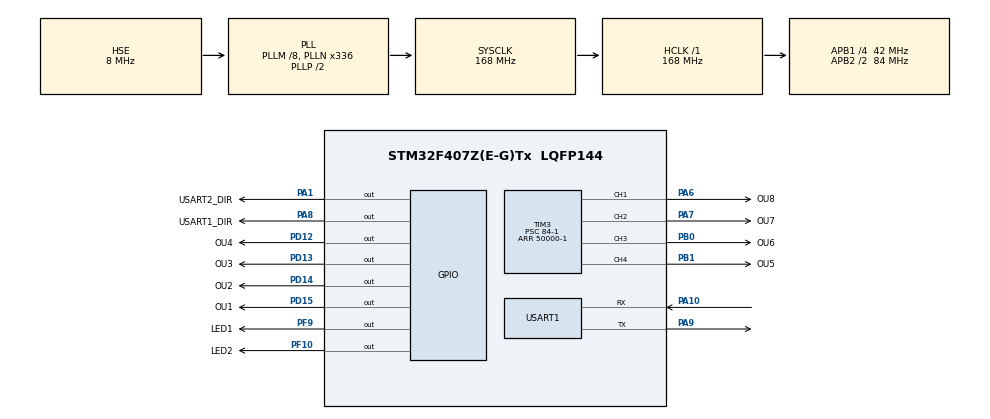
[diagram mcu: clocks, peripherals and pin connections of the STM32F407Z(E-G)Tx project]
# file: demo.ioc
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FREERTOS.Tasks01=defaultTask,24,128,StartDefaultTask,Default,NULL,Dynamic,NULL,NULL
FREERTOS.configTOTAL_HEAP_SIZE=102400
IWDG.Prescaler=IWDG_PRESCALER_32
IWDG.Reload=1500
Mcu.Family=STM32F4
Mcu.Name=STM32F407Z(E-G)Tx
Mcu.Package=LQFP144
NVIC.PriorityGroup=NVIC_PRIORITYGROUP_4
NVIC.TIM3_IRQn=true\:5\:0\:false\:false\:true\:true\:true\:true\:true
NVIC.TIM4_IRQn=true\:5\:0\:false\:false\:true\:true\:true\:true\:true
NVIC.TIM5_IRQn=true\:15\:0\:false\:false\:true\:false\:false\:true\:true
NVIC.TimeBase=TIM5_IRQn
NVIC.TimeBaseIP=TIM5
NVIC.USART1_IRQn=true\:5\:0\:false\:false\:true\:true\:true\:true\:true
PA1.GPIO_Label=USART2_DIR
PA1.Signal=GPIO_Output
PA10.Mode=Asynchronous
PA10.Signal=USART1_RX
PA13.Mode=Serial_Wire
PA13.Signal=SYS_JTMS-SWDIO
PA14.Mode=Serial_Wire
PA14.Signal=SYS_JTCK-SWCLK
PA6.GPIO_Label=OU8
PA6.Signal=S_TIM3_CH1
PA7.GPIO_Label=OU7
PA7.Signal=S_TIM3_CH2
PA8.GPIO_Label=USART1_DIR
PA8.Signal=GPIO_Output
PA9.Mode=Asynchronous
PA9.Signal=USART1_TX
PB0.GPIO_Label=OU6
PB0.Signal=S_TIM3_CH3
PB1.GPIO_Label=OU5
PB1.Signal=S_TIM3_CH4
PD12.GPIO_Label=OU4
PD12.Signal=GPIO_Output
PD13.GPIO_Label=OU3
PD13.Signal=GPIO_Output
PD14.GPIO_Label=OU2
PD14.Signal=GPIO_Output
PD15.GPIO_Label=OU1
PD15.Signal=GPIO_Output
PF10.GPIO_Label=LED2
PF10.PinState=GPIO_PIN_SET
PF10.Signal=GPIO_Output
PF9.GPIO_Label=LED1
PF9.PinState=GPIO_PIN_SET
PF9.Signal=GPIO_Output
PH0-OSC_IN.Mode=HSE-External-Oscillator
PH0-OSC_IN.Signal=RCC_OSC_IN
PH1-OSC_OUT.Mode=HSE-External-Oscillator
PH1-OSC_OUT.Signal=RCC_OSC_OUT
ProjectManager.HeapSize=0x200
ProjectManager.StackSize=0x400
ProjectManager.TargetToolchain=Makefile
RCC.48MHZClocksFreq_Value=84000000
RCC.AHBFreq_Value=168000000
RCC.APB1CLKDivider=RCC_HCLK_DIV4
RCC.APB1Freq_Value=42000000
RCC.APB1TimFreq_Value=84000000
RCC.APB2CLKDivider=RCC_HCLK_DIV2
RCC.APB2Freq_Value=84000000
RCC.APB2TimFreq_Value=168000000
RCC.CortexFreq_Value=168000000
RCC.HCLKFreq_Value=168000000
RCC.HSE_VALUE=8000000
RCC.HSI_VALUE=16000000
RCC.LSE_VALUE=32768
RCC.PLLM=8
RCC.PLLN=336
RCC.PLLSourceVirtual=RCC_PLLSOURCE_HSE
RCC.SYSCLKFreq_VALUE=168000000
RCC.SYSCLKSource=RCC_SYSCLKSOURCE_PLLCLK
RCC.VCOOutputFreq_Value=336000000
SH.S_TIM3_CH1.0=TIM3_CH1,PWM Generation1 CH1
SH.S_TIM3_CH2.0=TIM3_CH2,PWM Generation2 CH2
SH.S_TIM3_CH3.0=TIM3_CH3,PWM Generation3 CH3
SH.S_TIM3_CH4.0=TIM3_CH4,PWM Generation4 CH4
TIM3.Channel-PWM\ Generation1\ CH1=TIM_CHANNEL_1
TIM3.Channel-PWM\ Generation2\ CH2=TIM_CHANNEL_2
TIM3.Channel-PWM\ Generation3\ CH3=TIM_CHANNEL_3
TIM3.Channel-PWM\ Generation4\ CH4=TIM_CHANNEL_4
TIM3.Period=50000-1
TIM3.Prescaler=84-1
TIM3.TIM_MasterOutputTrigger=TIM_TRGO_UPDATE
TIM3.TIM_MasterSlaveMode=TIM_MASTERSLAVEMODE_ENABLE
TIM4.Prescaler=4249
USART1.VirtualMode=VM_ASYNC
VP_FREERTOS_VS_CMSIS_V2.Mode=CMSIS_V2
VP_IWDG_VS_IWDG.Mode=IWDG_Activate
VP_SYS_VS_tim5.Mode=TIM5
VP_TIM2_VS_ClockSourceITR.Mode=TriggerSource_ITR1
VP_TIM2_VS_ControllerModeClock.Mode=Clock Mode
VP_TIM3_VS_ClockSourceINT.Mode=Internal
VP_TIM4_VS_ClockSourceINT.Mode=Internal
board=custom

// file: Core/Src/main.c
/* USER CODE BEGIN Header */
/**
  ******************************************************************************
  * @file           : main.c
  * @brief          : Main program body
  ******************************************************************************
  * @attention
  *
  * Copyright (c) 2022 STMicroelectronics.
  * All rights reserved.
  *
  * This software is licensed under terms that can be found in the LICENSE file
  * in the root directory of this software component.
  * If no LICENSE file comes with this software, it is provided AS-IS.
  *
  ******************************************************************************
  */
/* USER CODE END Header */
#include "main.h"
#include "cmsis_os.h"
#include "iwdg.h"
#include "tim.h"
#include "usart.h"
#include "gpio.h"

/* USER CODE BEGIN Includes */
#include "mb_stack.h"
#include "mb_m_stack.h"
/* USER CODE END Includes */

void SystemClock_Config(void);
void MX_FREERTOS_Init(void);

int main(void)
{

  /* MCU Configuration--------------------------------------------------------*/

  /* Reset of all peripherals, Initializes the Flash interface and the Systick. */
  HAL_Init();

  /* Configure the system clock */
  SystemClock_Config();

  /* Initialize all configured peripherals */
  MX_GPIO_Init();
  MX_IWDG_Init();
  MX_TIM4_Init();
  MX_USART1_UART_Init();
  MX_TIM2_Init();
  MX_TIM3_Init();

  /* Init scheduler */
  osKernelInitialize();

  /* Call init function for freertos objects (in cmsis_os2.c) */
  MX_FREERTOS_Init();

  /* Start scheduler */
  osKernelStart();

  /* We should never get here as control is now taken by the scheduler */

  /* Infinite loop */
  while (1)
  {

  }
}

void SystemClock_Config(void)
{
  RCC_OscInitTypeDef RCC_OscInitStruct = {0};
  RCC_ClkInitTypeDef RCC_ClkInitStruct = {0};

  /** Configure the main internal regulator output voltage
  */
  __HAL_RCC_PWR_CLK_ENABLE();
  __HAL_PWR_VOLTAGESCALING_CONFIG(PWR_REGULATOR_VOLTAGE_SCALE1);

  /** Initializes the RCC Oscillators according to the specified parameters
  * in the RCC_OscInitTypeDef structure.
  */
  RCC_OscInitStruct.OscillatorType = RCC_OSCILLATORTYPE_LSI|RCC_OSCILLATORTYPE_HSE;
  RCC_OscInitStruct.HSEState = RCC_HSE_ON;
  RCC_OscInitStruct.LSIState = RCC_LSI_ON;
  RCC_OscInitStruct.PLL.PLLState = RCC_PLL_ON;
  RCC_OscInitStruct.PLL.PLLSource = RCC_PLLSOURCE_HSE;
  RCC_OscInitStruct.PLL.PLLM = 8;
  RCC_OscInitStruct.PLL.PLLN = 336;
  RCC_OscInitStruct.PLL.PLLP = RCC_PLLP_DIV2;
  RCC_OscInitStruct.PLL.PLLQ = 4;
  if (HAL_RCC_OscConfig(&RCC_OscInitStruct) != HAL_OK)
  {
    Error_Handler();
  }

  /** Initializes the CPU, AHB and APB buses clocks
  */
  RCC_ClkInitStruct.ClockType = RCC_CLOCKTYPE_HCLK|RCC_CLOCKTYPE_SYSCLK
                              |RCC_CLOCKTYPE_PCLK1|RCC_CLOCKTYPE_PCLK2;
  RCC_ClkInitStruct.SYSCLKSource = RCC_SYSCLKSOURCE_PLLCLK;
  RCC_ClkInitStruct.AHBCLKDivider = RCC_SYSCLK_DIV1;
  RCC_ClkInitStruct.APB1CLKDivider = RCC_HCLK_DIV4;
  RCC_ClkInitStruct.APB2CLKDivider = RCC_HCLK_DIV2;

  if (HAL_RCC_ClockConfig(&RCC_ClkInitStruct, FLASH_LATENCY_5) != HAL_OK)
  {
    Error_Handler();
  }
}

void HAL_TIM_PeriodElapsedCallback(TIM_HandleTypeDef *htim)
{
  /* USER CODE BEGIN Callback 0 */
  //extern MB_M_StackTypeDef mbMasterStack;
  extern MB_StackTypeDef mbStack;
  /* USER CODE END Callback 0 */
  if (htim->Instance == TIM5) {
    HAL_IncTick();
  }
  /* USER CODE BEGIN Callback 1 */
  //if (htim == &htim3)
  //{
    //mbMasterStack.peMBMasterPortCBTimerExpiredCur(&mbMasterStack);
  //}
  if (htim == &htim4)
  {
    mbStack.peMBPortCBTimerExpiredCur(&mbStack);
  }
  /* USER CODE END Callback 1 */
}

void Error_Handler(void)
{
  __disable_irq();
  while (1)
  {
  }
}

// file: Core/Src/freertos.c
/* USER CODE BEGIN Header */
/**
  ******************************************************************************
  * File Name          : freertos.c
  * Description        : Code for freertos applications
  ******************************************************************************
  * @attention
  *
  * Copyright (c) 2022 STMicroelectronics.
  * All rights reserved.
  *
  * This software is licensed under terms that can be found in the LICENSE file
  * in the root directory of this software component.
  * If no LICENSE file comes with this software, it is provided AS-IS.
  *
  ******************************************************************************
  */
/* USER CODE END Header */

#include "FreeRTOS.h"
#include "task.h"
#include "main.h"
#include "cmsis_os.h"

/* USER CODE BEGIN Variables */
osThreadId_t mb_m_TaskHandle;
const osThreadAttr_t mb_m_Task_attributes = {
  .name = "mb_m_Task",
  .stack_size = 128 * 4,
  .priority = (osPriority_t) osPriorityAboveNormal,
};

osThreadId_t mb_m_ComTaskHandle;
const osThreadAttr_t mb_m_ComTask_attributes = {
  .name = "mb_m_ComTask",
  .stack_size = 128 * 4,
  .priority = (osPriority_t) osPriorityNormal7,
};

osThreadId_t mb_TaskHandle;
const osThreadAttr_t mb_Task_attributes = {
  .name = "mb_Task",
  .stack_size = 128 * 4,
  .priority = (osPriority_t) osPriorityAboveNormal,
};
/* USER CODE END Variables */
/* Definitions for defaultTask */
osThreadId_t defaultTaskHandle;
const osThreadAttr_t defaultTask_attributes = {
  .name = "defaultTask",
  .stack_size = 128 * 4,
  .priority = (osPriority_t) osPriorityNormal,
};

/* USER CODE BEGIN FunctionPrototypes */
osThreadId_t gpioTaskHandle;
const osThreadAttr_t gpioTask_attributes = {
  .name = "mbGpioTask",
  .stack_size = 128 * 4,
  .priority = (osPriority_t) osPriorityNormal,
};

//void Mb_m_Task(void *argument);

//void Mb_m_ComTask(void *argument);

void Mb_Task(void *argument);

void Mb_GpioTask(void *argument);
/* USER CODE END FunctionPrototypes */

void StartDefaultTask(void *argument);

void MX_FREERTOS_Init(void); /* (MISRA C 2004 rule 8.1) */

void MX_FREERTOS_Init(void) {

  /* Create the thread(s) */
  /* creation of defaultTask */
  defaultTaskHandle = osThreadNew(StartDefaultTask, NULL, &defaultTask_attributes);

  /* USER CODE BEGIN RTOS_THREADS */
  /* add threads, ... */
  //mb_m_TaskHandle = osThreadNew(Mb_m_Task, NULL, &mb_m_Task_attributes);
  //mb_m_ComTaskHandle = osThreadNew(Mb_m_ComTask, NULL, &mb_m_ComTask_attributes);
  mb_TaskHandle = osThreadNew(Mb_Task, NULL, &mb_Task_attributes);
  /* USER CODE END RTOS_THREADS */

  /* USER CODE BEGIN RTOS_EVENTS */
  /* add events, ... */
  gpioTaskHandle = osThreadNew(Mb_GpioTask, NULL, &gpioTask_attributes);
  /* USER CODE END RTOS_EVENTS */

}

void StartDefaultTask(void *argument)
{
  /* USER CODE BEGIN StartDefaultTask */
  #include "iwdg.h"
  /* Infinite loop */
  for(;;)
  {
    osDelay(500);
    HAL_GPIO_TogglePin(LED1_GPIO_Port, LED1_Pin);
    HAL_GPIO_TogglePin(LED2_GPIO_Port, LED2_Pin);
    HAL_IWDG_Refresh(&hiwdg);
  }
  /* USER CODE END StartDefaultTask */
}
